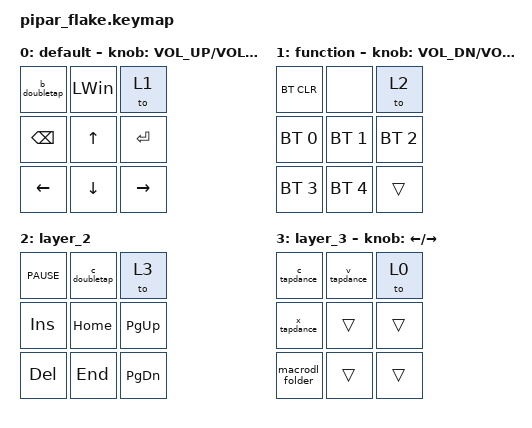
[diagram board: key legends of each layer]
/*
 * Copyright (c) 2022 The ZMK Contributors
 *
 * SPDX-License-Identifier: MIT
 */

#include <behaviors.dtsi>
#include <dt-bindings/zmk/bt.h>
#include <dt-bindings/zmk/keys.h>

#define BASE        0
#define FUNC        1

/ {
    sensors: sensors {
        compatible = "zmk,keymap-sensors";
        sensors = <&encoder_1>;
        triggers-per-rotation = <24>;
    };

    macros {
        new_macro: new_macro {
            compatible = "zmk,behavior-macro";
            #binding-cells = <0>;
            bindings = <&none &kp LS(H) &kp A &kp P &kp P &kp Y &kp SPACE &kp LS(B) &kp I &kp R &kp T &kp H &kp D &kp A &kp Y>;
            label = "NEW_MACRO";
        };

        yt: yt {
            compatible = "zmk,behavior-macro";
            #binding-cells = <0>;
            bindings = <&kp Y &kp O &kp U &kp T &kp U &kp B &kp E &kp DOT &kp C &kp O &kp M>;
            label = "YT";
        };

        keyboardtest: keyboard {
            compatible = "zmk,behavior-macro";
            #binding-cells = <0>;
            bindings = <&kp E &kp N &kp DOT &kp K &kp E &kp Y &kp TAB &kp ENTER>;
            label = "KEYBOARD";
        };

        keyboardedit: keyboardedit {
            compatible = "zmk,behavior-macro";
            #binding-cells = <0>;
            bindings = <&kp N &kp I &kp C &kp K &kp C &kp O &kp U &kp T &kp TAB &kp RET>;
            label = "KEYBOARDEDIT";
        };

        git: git {
            compatible = "zmk,behavior-macro";
            #binding-cells = <0>;
            bindings = <&kp G &kp I &kp T &kp H &kp U &kp B &kp DOT &kp C &kp O &kp M &kp TAB>;
            label = "GIT";
        };

        macrocopy: macrocopy {
            compatible = "zmk,behavior-macro";
            #binding-cells = <0>;
            bindings = <&kp LC(C)>;
            label = "MACROCOPY";
        };

        macropaste: macropaste {
            compatible = "zmk,behavior-macro";
            #binding-cells = <0>;
            bindings = <&kp LC(V)>;
            label = "MACROPASTE";
        };

        macrocut: macrocut {
            compatible = "zmk,behavior-macro";
            #binding-cells = <0>;
            bindings = <&kp LC(X)>;
            label = "MACROCUT";
        };

        macrodl_folder: macrodl_folder {
            compatible = "zmk,behavior-macro";
            #binding-cells = <0>;
            bindings = <&kp LC(LS(D))>;
            label = "MACRODL_FOLDER";
        };
    };

    behaviors {
        b_doubletap: b_doubletap {
            compatible = "zmk,behavior-tap-dance";
            label = "B_DOUBLETAP";
            #binding-cells = <0>;
            bindings = <&kp MINUS>, <&kp UNDER>;
        };

        c_doubletap: c_doubletap {
            compatible = "zmk,behavior-tap-dance";
            label = "C_DOUBLETAP";
            #binding-cells = <0>;
            bindings = <&kp C>, <&yt>;
        };

        k_multipletap: k_multipletap {
            compatible = "zmk,behavior-tap-dance";
            label = "K_MULTIPLETAP";
            #binding-cells = <0>;
            bindings = <&kp K>, <&keyboardtest>, <&keyboardedit>;
        };

        g_doubletap: g_doubletap {
            compatible = "zmk,behavior-tap-dance";
            label = "G_DOUBLETAP";
            #binding-cells = <0>;
            bindings = <&kp G>, <&git>;
        };

        x_tapdance: x_tapdance {
            compatible = "zmk,behavior-tap-dance";
            label = "X_TAPDANCE";
            #binding-cells = <0>;
            bindings = <&kp X>, <&macrocut>;
        };

        c_tapdance: c_tapdance {
            compatible = "zmk,behavior-tap-dance";
            label = "C_TAPDANCE";
            #binding-cells = <0>;
            bindings = <&kp C>, <&macrocopy>;
        };

        v_tapdance: v_tapdance {
            compatible = "zmk,behavior-tap-dance";
            label = "V_TAPDANCE";
            #binding-cells = <0>;
            bindings = <&kp V>, <&macropaste>;
        };
    };

    combos {
        compatible = "zmk,combos";

        zcob {
            bindings = <&kp ESCAPE>;
            key-positions = <6 8>;
            layers = <2>;
        };
    };

    keymap {
        compatible = "zmk,keymap";

        default_layer {
            // ---------------------------//
            // | Q    | W     | ENCODER | //
            // | A    | S     | D       | //
            // | Z    | X     | FN      | //

            display-name = "default";
            bindings = <
&b_doubletap    &kp LEFT_WIN    &to 1
&kp BACKSPACE   &kp UP_ARROW    &kp ENTER
&kp LEFT_ARROW  &kp DOWN_ARROW  &kp RIGHT_ARROW
            >;

            sensor-bindings = <&inc_dec_kp C_VOLUME_UP C_VOLUME_DOWN>;
        };

        function_layer {
            // --------------------------- //
            // | BT_CLR | none | ENCODER | //
            // | BT_0   | BT_1 | BT_2    | //
            // | BT_3   | BT_4 | trans   | //

            display-name = "function";
            bindings = <
&bt BT_CLR    &none         &to 2
&bt BT_SEL 0  &bt BT_SEL 1  &bt BT_SEL 2
&bt BT_SEL 3  &bt BT_SEL 4  &trans
            >;

            sensor-bindings = <&inc_dec_kp C_VOL_DN C_VOL_UP>;
        };

        layer_2 {
            bindings = <
&kp C_PAUSE  &c_doubletap  &to 3
&kp INS      &kp HOME      &kp PG_UP
&kp DELETE   &kp END       &kp PAGE_DOWN
            >;
        };

        layer_3 {
            bindings = <
&c_tapdance      &v_tapdance  &to 0
&x_tapdance      &trans       &trans
&macrodl_folder  &trans       &trans
            >;

            sensor-bindings = <&inc_dec_kp LEFT_ARROW RIGHT>;
        };
    };
};
